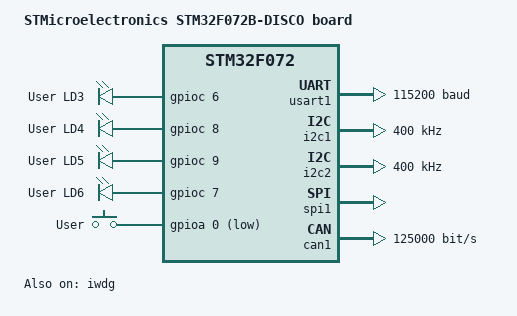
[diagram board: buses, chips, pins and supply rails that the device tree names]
/*
 * Copyright (c) 2017 Clage GmbH
 *
 * SPDX-License-Identifier: Apache-2.0
 */

/dts-v1/;
#include <st/f0/stm32f072Xb.dtsi>

/ {
	model = "STMicroelectronics STM32F072B-DISCO board";
	compatible = "st,stm32f072b-disco", "st,stm32f072";

	chosen {
		zephyr,console = &usart1;
		zephyr,shell-uart = &usart1;
		zephyr,sram = &sram0;
		zephyr,flash = &flash0;
		zephyr,can-primary = &can1;
	};

	leds {
		compatible = "gpio-leds";
		red_up_led_3: led_3 {
			gpios = <&gpioc 6 GPIO_ACTIVE_HIGH>;
			label = "User LD3";
		};
		yellow_left_4: led_4 {
			gpios = <&gpioc 8 GPIO_ACTIVE_HIGH>;
			label = "User LD4";
		};
		green_right_led_5: led_5 {
			gpios = <&gpioc 9 GPIO_ACTIVE_HIGH>;
			label = "User LD5";
		};
		blue_low_led_6: led_6 {
			gpios = <&gpioc 7 GPIO_ACTIVE_HIGH>;
			label = "User LD6";
		};
	};

	gpio_keys {
		compatible = "gpio-keys";
		user_button: button {
			label = "User";
			gpios = <&gpioa 0 GPIO_ACTIVE_LOW>;
		};
	};

	aliases {
		led0 = &red_up_led_3;
		led1 = &yellow_left_4;
		led2 = &green_right_led_5;
		led3 = &blue_low_led_6;
		sw0 = &user_button;
	};
};

&usart1 {
	current-speed = <115200>;
	status = "okay";
};

&i2c1 {
	status = "okay";
	clock-frequency = <I2C_BITRATE_FAST>;
};

&i2c2 {
	status = "okay";
	clock-frequency = <I2C_BITRATE_FAST>;
};

&spi1 {
	status = "okay";
};

&can1 {
	bus-speed = <125000>;
	status = "okay";
};

&iwdg {
	status = "okay";
};
